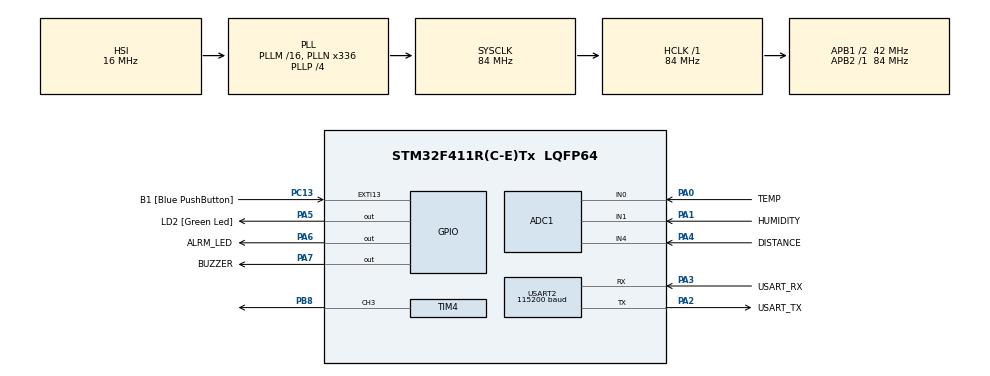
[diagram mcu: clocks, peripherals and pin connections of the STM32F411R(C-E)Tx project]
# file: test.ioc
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ADC1.Channel-0\#ChannelRegularConversion=ADC_CHANNEL_0
ADC1.Channel-1\#ChannelRegularConversion=ADC_CHANNEL_1
ADC1.Channel-2\#ChannelRegularConversion=ADC_CHANNEL_4
ADC1.ContinuousConvMode=ENABLE
ADC1.NbrOfConversion=3
ADC1.NbrOfConversionFlag=1
ADC1.Rank-0\#ChannelRegularConversion=1
ADC1.Rank-1\#ChannelRegularConversion=2
ADC1.Rank-2\#ChannelRegularConversion=3
ADC1.SamplingTime-0\#ChannelRegularConversion=ADC_SAMPLETIME_112CYCLES
ADC1.SamplingTime-1\#ChannelRegularConversion=ADC_SAMPLETIME_112CYCLES
ADC1.SamplingTime-2\#ChannelRegularConversion=ADC_SAMPLETIME_112CYCLES
ADC1.ScanConvMode=ENABLE
ADC1.master=1
FREERTOS.Tasks01=TSK_ADC,24,128,FTSK_ADC,Default,NULL,Dynamic,NULL,NULL;TSK_ACTUATORS,24,128,FTSK_ACTUATORS,Default,NULL,Dynamic,NULL,NULL;TSK_MOTOR,24,128,FTSK_MOTOR,Default,NULL,Dynamic,NULL,NULL
Mcu.Family=STM32F4
Mcu.Name=STM32F411R(C-E)Tx
Mcu.Package=LQFP64
NVIC.EXTI15_10_IRQn=true\:5\:0\:false\:false\:true\:true\:true\:true
NVIC.PriorityGroup=NVIC_PRIORITYGROUP_4
NVIC.TIM4_IRQn=true\:5\:0\:false\:false\:true\:true\:true\:true
NVIC.USART2_IRQn=true\:5\:0\:false\:false\:true\:true\:true\:true
PA0-WKUP.GPIO_Label=TEMP
PA0-WKUP.Signal=SharedAnalog_PA0
PA1.GPIO_Label=HUMIDITY
PA1.Signal=SharedAnalog_PA1
PA13.GPIO_Label=TMS
PA13.Mode=Serial_Wire
PA13.Signal=SYS_JTMS-SWDIO
PA14.GPIO_Label=TCK
PA14.Mode=Serial_Wire
PA14.Signal=SYS_JTCK-SWCLK
PA2.GPIO_Label=USART_TX
PA2.Mode=Asynchronous
PA2.Signal=USART2_TX
PA3.GPIO_Label=USART_RX
PA3.Mode=Asynchronous
PA3.Signal=USART2_RX
PA4.GPIO_Label=DISTANCE
PA4.Signal=SharedAnalog_PA4
PA5.GPIO_Label=LD2 [Green Led]
PA5.Signal=GPIO_Output
PA6.GPIO_Label=ALRM_LED
PA6.Signal=GPIO_Output
PA7.GPIO_Label=BUZZER
PA7.Signal=GPIO_Output
PB3.GPIO_Label=SWO
PB3.Signal=SYS_JTDO-SWO
PB8.Signal=S_TIM4_CH3
PC13-ANTI_TAMP.GPIO_Label=B1 [Blue PushButton]
PC13-ANTI_TAMP.GPIO_ModeDefaultEXTI=GPIO_MODE_IT_FALLING
PC13-ANTI_TAMP.Signal=GPXTI13
PC14-OSC32_IN.Mode=LSE-External-Oscillator
PC14-OSC32_IN.Signal=RCC_OSC32_IN
PC15-OSC32_OUT.Mode=LSE-External-Oscillator
PC15-OSC32_OUT.Signal=RCC_OSC32_OUT
PH0\ -\ OSC_IN.Mode=HSE-External-Clock-Source
PH0\ -\ OSC_IN.Signal=RCC_OSC_IN
PH1\ -\ OSC_OUT.Mode=HSE-External-Clock-Source
PH1\ -\ OSC_OUT.Signal=RCC_OSC_OUT
ProjectManager.HeapSize=0x200
ProjectManager.StackSize=0x400
ProjectManager.TargetToolchain=STM32CubeIDE
RCC.48MHZClocksFreq_Value=84000000
RCC.AHBFreq_Value=84000000
RCC.APB1CLKDivider=RCC_HCLK_DIV2
RCC.APB1Freq_Value=42000000
RCC.APB1TimFreq_Value=84000000
RCC.APB2Freq_Value=84000000
RCC.APB2TimFreq_Value=84000000
RCC.CortexFreq_Value=84000000
RCC.FLatency-AdvancedSettings=FLASH_LATENCY_2
RCC.HCLKFreq_Value=84000000
RCC.HSE_VALUE=8000000
RCC.HSI_VALUE=16000000
RCC.PLLN=336
RCC.PLLP=RCC_PLLP_DIV4
RCC.SYSCLKFreq_VALUE=84000000
RCC.SYSCLKSource=RCC_SYSCLKSOURCE_PLLCLK
RCC.VCOOutputFreq_Value=336000000
SH.S_TIM4_CH3.0=TIM4_CH3,PWM Generation3 CH3
SH.SharedAnalog_PA0.0=GPIO_Analog
SH.SharedAnalog_PA0.1=ADC1_IN0,IN0
SH.SharedAnalog_PA1.0=GPIO_Analog
SH.SharedAnalog_PA1.1=ADC1_IN1,IN1
SH.SharedAnalog_PA4.0=GPIO_Analog
SH.SharedAnalog_PA4.1=ADC1_IN4,IN4
TIM4.Channel-PWM\ Generation3\ CH3=TIM_CHANNEL_3
TIM4.Prescaler=83
USART2.BaudRate=115200
USART2.VirtualMode=VM_ASYNC
VP_FREERTOS_VS_CMSIS_V2.Mode=CMSIS_V2
board=NUCLEO-F411RE

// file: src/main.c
/* USER CODE BEGIN Header */
/**
  ******************************************************************************
  * @file           : main.c
  * @brief          : Main program body
  ******************************************************************************
  * @attention
  *
  * <h2><center>&copy; Copyright (c) 2021 STMicroelectronics.
  * All rights reserved.</center></h2>
  *
  * This software component is licensed by ST under BSD 3-Clause license,
  * the "License"; You may not use this file except in compliance with the
  * License. You may obtain a copy of the License at:
  *                        opensource.org/licenses/BSD-3-Clause
  *
  ******************************************************************************
  */
/* USER CODE END Header */
#include "main.h"
#include "cmsis_os.h"

ADC_HandleTypeDef hadc1;

TIM_HandleTypeDef htim4;

UART_HandleTypeDef huart2;

/* Definitions for TSK_ADC */
osThreadId_t TSK_ADCHandle;
const osThreadAttr_t TSK_ADC_attributes = {
  .name = "TSK_ADC",
  .priority = (osPriority_t) osPriorityNormal,
  .stack_size = 128 * 4
};
/* Definitions for TSK_ACTUATORS */
osThreadId_t TSK_ACTUATORSHandle;
const osThreadAttr_t TSK_ACTUATORS_attributes = {
  .name = "TSK_ACTUATORS",
  .priority = (osPriority_t) osPriorityNormal,
  .stack_size = 128 * 4
};
/* Definitions for TSK_MOTOR */
osThreadId_t TSK_MOTORHandle;
const osThreadAttr_t TSK_MOTOR_attributes = {
  .name = "TSK_MOTOR",
  .priority = (osPriority_t) osPriorityNormal,
  .stack_size = 128 * 4
};
/* USER CODE BEGIN PV */

// GLOBAL VARIABLES
char cad[14];
char buf[4];
char *CMDS[] = {"SEND","ALRM", "ERROR", "DONE"};
uint16_t FLAG = 100;
uint32_t delayance;

/* USER CODE END PV */

void SystemClock_Config(void);
static void MX_GPIO_Init(void);
static void MX_USART2_UART_Init(void);
static void MX_ADC1_Init(void);
static void MX_TIM4_Init(void);
void FTSK_ADC(void *argument);
void FTSK_ACTUATORS(void *argument);
void FTSK_MOTOR(void *argument);

int main(void)
{

  /* MCU Configuration--------------------------------------------------------*/

  /* Reset of all peripherals, Initializes the Flash interface and the Systick. */
  HAL_Init();

  /* Configure the system clock */
  SystemClock_Config();

  /* Initialize all configured peripherals */
  MX_GPIO_Init();
  MX_USART2_UART_Init();
  MX_ADC1_Init();
  MX_TIM4_Init();
  /* USER CODE BEGIN 2 */
  __HAL_UART_ENABLE_IT(&huart2, UART_IT_TC); // Habilitación IT_TX
  __HAL_UART_ENABLE_IT(&huart2, UART_IT_RXNE); // // Habilitación IT_RX
  HAL_TIM_PWM_Start(&htim4, TIM_CHANNEL_3); // Inicialización TIMER4
  /* USER CODE END 2 */

  /* Init scheduler */
  osKernelInitialize();

  /* Create the thread(s) */
  /* creation of TSK_ADC */
  TSK_ADCHandle = osThreadNew(FTSK_ADC, NULL, &TSK_ADC_attributes);

  /* creation of TSK_ACTUATORS */
  TSK_ACTUATORSHandle = osThreadNew(FTSK_ACTUATORS, NULL, &TSK_ACTUATORS_attributes);

  /* creation of TSK_MOTOR */
  TSK_MOTORHandle = osThreadNew(FTSK_MOTOR, NULL, &TSK_MOTOR_attributes);

  /* USER CODE BEGIN RTOS_EVENTS */
  /* add events, ... */
  HAL_UART_Receive_IT(&huart2, buf, 4);

  /* USER CODE END RTOS_EVENTS */

  /* Start scheduler */
  osKernelStart();

  /* We should never get here as control is now taken by the scheduler */
  /* Infinite loop */
  while (1)
  {

  }
}

void SystemClock_Config(void)
{
  RCC_OscInitTypeDef RCC_OscInitStruct = {0};
  RCC_ClkInitTypeDef RCC_ClkInitStruct = {0};

  /** Configure the main internal regulator output voltage
  */
  __HAL_RCC_PWR_CLK_ENABLE();
  __HAL_PWR_VOLTAGESCALING_CONFIG(PWR_REGULATOR_VOLTAGE_SCALE1);
  /** Initializes the RCC Oscillators according to the specified parameters
  * in the RCC_OscInitTypeDef structure.
  */
  RCC_OscInitStruct.OscillatorType = RCC_OSCILLATORTYPE_HSI;
  RCC_OscInitStruct.HSIState = RCC_HSI_ON;
  RCC_OscInitStruct.HSICalibrationValue = RCC_HSICALIBRATION_DEFAULT;
  RCC_OscInitStruct.PLL.PLLState = RCC_PLL_ON;
  RCC_OscInitStruct.PLL.PLLSource = RCC_PLLSOURCE_HSI;
  RCC_OscInitStruct.PLL.PLLM = 16;
  RCC_OscInitStruct.PLL.PLLN = 336;
  RCC_OscInitStruct.PLL.PLLP = RCC_PLLP_DIV4;
  RCC_OscInitStruct.PLL.PLLQ = 4;
  if (HAL_RCC_OscConfig(&RCC_OscInitStruct) != HAL_OK)
  {
    Error_Handler();
  }
  /** Initializes the CPU, AHB and APB buses clocks
  */
  RCC_ClkInitStruct.ClockType = RCC_CLOCKTYPE_HCLK|RCC_CLOCKTYPE_SYSCLK
                              |RCC_CLOCKTYPE_PCLK1|RCC_CLOCKTYPE_PCLK2;
  RCC_ClkInitStruct.SYSCLKSource = RCC_SYSCLKSOURCE_PLLCLK;
  RCC_ClkInitStruct.AHBCLKDivider = RCC_SYSCLK_DIV1;
  RCC_ClkInitStruct.APB1CLKDivider = RCC_HCLK_DIV2;
  RCC_ClkInitStruct.APB2CLKDivider = RCC_HCLK_DIV1;

  if (HAL_RCC_ClockConfig(&RCC_ClkInitStruct, FLASH_LATENCY_2) != HAL_OK)
  {
    Error_Handler();
  }
}

static void MX_ADC1_Init(void)
{

  ADC_ChannelConfTypeDef sConfig = {0};

  /** Configure the global features of the ADC (Clock, Resolution, Data Alignment and number of conversion)
  */
  hadc1.Instance = ADC1;
  hadc1.Init.ClockPrescaler = ADC_CLOCK_SYNC_PCLK_DIV4;
  hadc1.Init.Resolution = ADC_RESOLUTION_12B;
  hadc1.Init.ScanConvMode = ENABLE;
  hadc1.Init.ContinuousConvMode = ENABLE;
  hadc1.Init.DiscontinuousConvMode = DISABLE;
  hadc1.Init.ExternalTrigConvEdge = ADC_EXTERNALTRIGCONVEDGE_NONE;
  hadc1.Init.ExternalTrigConv = ADC_SOFTWARE_START;
  hadc1.Init.DataAlign = ADC_DATAALIGN_RIGHT;
  hadc1.Init.NbrOfConversion = 3;
  hadc1.Init.DMAContinuousRequests = DISABLE;
  hadc1.Init.EOCSelection = ADC_EOC_SINGLE_CONV;
  if (HAL_ADC_Init(&hadc1) != HAL_OK)
  {
    Error_Handler();
  }
  /** Configure for the selected ADC regular channel its corresponding rank in the sequencer and its sample time.
  */
  sConfig.Channel = ADC_CHANNEL_0;
  sConfig.Rank = 1;
  sConfig.SamplingTime = ADC_SAMPLETIME_112CYCLES;
  if (HAL_ADC_ConfigChannel(&hadc1, &sConfig) != HAL_OK)
  {
    Error_Handler();
  }
  /** Configure for the selected ADC regular channel its corresponding rank in the sequencer and its sample time.
  */
  sConfig.Channel = ADC_CHANNEL_1;
  sConfig.Rank = 2;
  if (HAL_ADC_ConfigChannel(&hadc1, &sConfig) != HAL_OK)
  {
    Error_Handler();
  }
  /** Configure for the selected ADC regular channel its corresponding rank in the sequencer and its sample time.
  */
  sConfig.Channel = ADC_CHANNEL_4;
  sConfig.Rank = 3;
  if (HAL_ADC_ConfigChannel(&hadc1, &sConfig) != HAL_OK)
  {
    Error_Handler();
  }

}

static void MX_TIM4_Init(void)
{

  TIM_MasterConfigTypeDef sMasterConfig = {0};
  TIM_OC_InitTypeDef sConfigOC = {0};

  htim4.Instance = TIM4;
  htim4.Init.Prescaler = 83;
  htim4.Init.CounterMode = TIM_COUNTERMODE_UP;
  htim4.Init.Period = 65535;
  htim4.Init.ClockDivision = TIM_CLOCKDIVISION_DIV1;
  htim4.Init.AutoReloadPreload = TIM_AUTORELOAD_PRELOAD_DISABLE;
  if (HAL_TIM_PWM_Init(&htim4) != HAL_OK)
  {
    Error_Handler();
  }
  sMasterConfig.MasterOutputTrigger = TIM_TRGO_RESET;
  sMasterConfig.MasterSlaveMode = TIM_MASTERSLAVEMODE_DISABLE;
  if (HAL_TIMEx_MasterConfigSynchronization(&htim4, &sMasterConfig) != HAL_OK)
  {
    Error_Handler();
  }
  sConfigOC.OCMode = TIM_OCMODE_PWM1;
  sConfigOC.Pulse = 0;
  sConfigOC.OCPolarity = TIM_OCPOLARITY_HIGH;
  sConfigOC.OCFastMode = TIM_OCFAST_DISABLE;
  if (HAL_TIM_PWM_ConfigChannel(&htim4, &sConfigOC, TIM_CHANNEL_3) != HAL_OK)
  {
    Error_Handler();
  }
  HAL_TIM_MspPostInit(&htim4);

}

static void MX_USART2_UART_Init(void)
{

  huart2.Instance = USART2;
  huart2.Init.BaudRate = 115200;
  huart2.Init.WordLength = UART_WORDLENGTH_8B;
  huart2.Init.StopBits = UART_STOPBITS_1;
  huart2.Init.Parity = UART_PARITY_NONE;
  huart2.Init.Mode = UART_MODE_TX_RX;
  huart2.Init.HwFlowCtl = UART_HWCONTROL_NONE;
  huart2.Init.OverSampling = UART_OVERSAMPLING_16;
  if (HAL_UART_Init(&huart2) != HAL_OK)
  {
    Error_Handler();
  }

}

static void MX_GPIO_Init(void)
{
  GPIO_InitTypeDef GPIO_InitStruct = {0};

  /* GPIO Ports Clock Enable */
  __HAL_RCC_GPIOC_CLK_ENABLE();
  __HAL_RCC_GPIOH_CLK_ENABLE();
  __HAL_RCC_GPIOA_CLK_ENABLE();
  __HAL_RCC_GPIOB_CLK_ENABLE();

  /*Configure GPIO pin Output Level */
  HAL_GPIO_WritePin(GPIOA, LD2_Pin|ALRM_LED_Pin|BUZZER_Pin, GPIO_PIN_RESET);

  /*Configure GPIO pin : B1_Pin */
  GPIO_InitStruct.Pin = B1_Pin;
  GPIO_InitStruct.Mode = GPIO_MODE_IT_FALLING;
  GPIO_InitStruct.Pull = GPIO_NOPULL;
  HAL_GPIO_Init(B1_GPIO_Port, &GPIO_InitStruct);

  /*Configure GPIO pins : LD2_Pin ALRM_LED_Pin BUZZER_Pin */
  GPIO_InitStruct.Pin = LD2_Pin|ALRM_LED_Pin|BUZZER_Pin;
  GPIO_InitStruct.Mode = GPIO_MODE_OUTPUT_PP;
  GPIO_InitStruct.Pull = GPIO_NOPULL;
  GPIO_InitStruct.Speed = GPIO_SPEED_FREQ_LOW;
  HAL_GPIO_Init(GPIOA, &GPIO_InitStruct);

  /* EXTI interrupt init*/
  HAL_NVIC_SetPriority(EXTI15_10_IRQn, 5, 0);
  HAL_NVIC_EnableIRQ(EXTI15_10_IRQn);

}

/* USER CODE BEGIN 4 */

void HAL_UART_TxCpltCallback(UART_HandleTypeDef* huart)
{
	HAL_GPIO_TogglePin(LD2_GPIO_Port, LD2_Pin);
}

void HAL_UART_RxCpltCallback(UART_HandleTypeDef* huart)

{
	if(strncmp(buf,CMDS[0],4)==0){       // SEND:msg
		HAL_UART_Transmit_IT(&huart2, cad, sizeof(cad));
	}
	else if(strncmp(buf,CMDS[1],4)==0){  // ALRM:msg
		FLAG = 1;
	}
	else{  // ALRM:msg
		HAL_UART_Transmit_IT(&huart2, CMDS[2], sizeof(CMDS[2]));
	}
	HAL_UART_Receive_IT(&huart2, buf, sizeof(buf));
}

void HAL_GPIO_EXTI_Callback (uint16_t GPIO_Pin)
{
	// SECURITY EVERYTHING READY
	if(HAL_GPIO_ReadPin(B1_GPIO_Port, B1_Pin) == GPIO_PIN_SET)
	{
			HAL_GPIO_WritePin(ALRM_LED_GPIO_Port, ALRM_LED_Pin, GPIO_PIN_SET);
			HAL_UART_Transmit_IT(&huart2, CMDS[3], sizeof(CMDS[3]));
			FLAG = 0;
			HAL_GPIO_WritePin(ALRM_LED_GPIO_Port, ALRM_LED_Pin, GPIO_PIN_RESET);
		}

}

void SET_PWM(uint16_t valor)
{
	// Configuración PWM
	TIM_OC_InitTypeDef config;
	config.OCMode = TIM_OCMODE_PWM1;
	config.OCPolarity = TIM_OCPOLARITY_HIGH;
	config.OCFastMode =TIM_OCFAST_DISABLE;

	//PWM = 10*valor + 500; // Transformación Grados-> Ticks
	// VALOR:  0-19999
	config.Pulse = valor; // Valor para no hacer la transformación
	HAL_TIM_PWM_ConfigChannel(&htim4, &config, TIM_CHANNEL_3);
	HAL_TIM_PWM_Start(&htim4, TIM_CHANNEL_3);

}

/* USER CODE END 4 */

void FTSK_ADC(void *argument)
{
  /* USER CODE BEGIN 5 */
  /* Infinite loop */

	HAL_StatusTypeDef status;
	float aux;
	uint32_t sens[3];

  for(;;)
  {

		HAL_ADC_Start(&hadc1);

		// TEMP
		status = HAL_ADC_PollForConversion(&hadc1, 1);
		if(status == HAL_OK)
		{
			aux = HAL_ADC_GetValue(&hadc1);
			sens[0] = aux*0.517 -105.1;
		}

		// HUMIDITY
	  status = HAL_ADC_PollForConversion(&hadc1, 1);
	  if(status == HAL_OK){

		  aux = HAL_ADC_GetValue(&hadc1);
		  aux = (aux/ 4095)*1000;
		  sens[1] = aux;
	  }

	  // DISTANCE
	  status = HAL_ADC_PollForConversion(&hadc1, 1);
	  if(status == HAL_OK){
		  aux = HAL_ADC_GetValue(&hadc1);
		  aux = (aux/ 3105)*100 - 2;
		  sens[2] = aux;
	  }

    HAL_ADC_Stop(&hadc1);

    sprintf(cad, "%d,%d,%d;", sens[0],sens[1], sens[2]);
    osDelay(100);

	}

  }
  /* USER CODE END 5 */

void FTSK_ACTUATORS(void *argument)
{
  /* USER CODE BEGIN FTSK_ACTUATORS */
  /* Infinite loop */
	uint16_t i = 0;
  for(;;)
  {
	  if(FLAG == 1)
	  {
		  delayance = 5000;
		  for(i = 0; i < 20; i++)
		  {
			  HAL_GPIO_TogglePin(BUZZER_GPIO_Port, BUZZER_Pin);
			  HAL_GPIO_TogglePin(ALRM_LED_GPIO_Port, ALRM_LED_Pin);
			  osDelay(200);

		  }
		  HAL_GPIO_WritePin(BUZZER_GPIO_Port, BUZZER_Pin, GPIO_PIN_RESET);
		  HAL_GPIO_WritePin(ALRM_LED_GPIO_Port, ALRM_LED_Pin, GPIO_PIN_RESET);
		  FLAG = 0;
		  delayance = 0;
	  }

    osDelay(1);
  }
  /* USER CODE END FTSK_ACTUATORS */
}

void FTSK_MOTOR(void *argument)
{
  /* USER CODE BEGIN FTSK_MOTOR */
  /* Infinite loop */
  uint16_t i;
  for(;;)
  {
	  // 500 - 2500
	  for(i = 500; i <= 2500;i = i+100)
	  {
		  SET_PWM(i);
		  osDelay(5000);
		  osDelay(delayance + 1); // Bug just in case
	  }

    osDelay(1);
  }
  /* USER CODE END FTSK_MOTOR */
}

void Error_Handler(void)
{
  __disable_irq();
  while (1)
  {
  }
}

/************************ (C) COPYRIGHT STMicroelectronics *****END OF FILE****/
